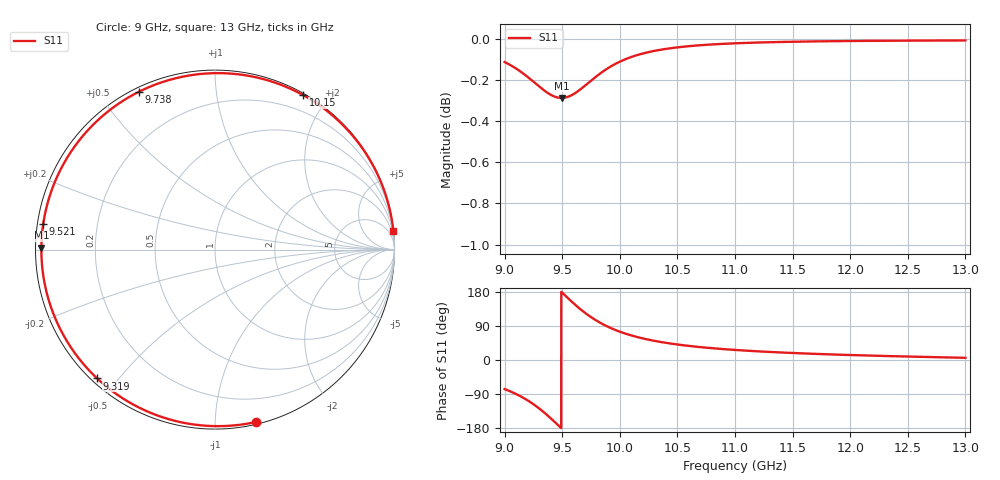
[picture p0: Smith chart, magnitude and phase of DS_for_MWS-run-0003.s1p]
! TOUCHSTONE file generated by CST DESIGN STUDIO
! Date and time: Tue Feb  4 13:47:37 2025
! Project name: C:\Work\MatlabApps\UnitCellOptimizationMatlab\CST\unitcell.cst
! Tree item: Tasks\Sweep1\SPara1\S-Parameters
! Header version: 2024
! Port assignment regex: !\s*Touchstone port\s*([0-9]+)\s*=\s*(CST MWS port|CST DES external port|CST DES block port)\s*(.+)\s* \(\"(.*)\"\)(\s*mode\s*([0-9]+))?.*
! Touchstone port assignment:
! Touchstone port 1 = CST DES external port 1 ("")
# GHz S MA R 50
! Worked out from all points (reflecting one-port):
!   4001 points, 9 GHz to 13 GHz, reference 50 ohm
!   lowest |S11| = -0.3 dB at 9.494 GHz (marker M1), VSWR 60.53, Z = 0.826 + j0.281 ohm
!   phase of S11 starts at -77 deg and turns -277 deg over the sweep
!   S11 on the Smith chart (normalised r, x): 9 GHz: 0.02, -1.26; 9.319 GHz: 0.02, -0.44; 9.521 GHz: 0.02, +0.07; 9.738 GHz: 0.02, +0.63; 10.15 GHz: 0.02, +1.72; 13 GHz: 0, +20
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9  0.9871 -76.7
9.082  0.9843 -87.2
9.183  0.9798 -103.5
9.254  0.9761 -117.5
9.319  0.9728 -132.4
9.365  0.9706 -144.2
9.414  0.9688 -157.6
9.455  0.9678 -169.3
9.494  0.9675 179.4
9.5  0.9675 177.6
9.521  0.9676 171.5
9.574  0.9687 156.3
9.634  0.971 140.1
9.685  0.9735 127.5
9.738  0.9763 115.6
9.791  0.979 105.1
9.85  0.9818 94.9
9.924  0.9848 84.0
10  0.9873 74.7
10.154  0.991 60.3
10.311  0.9935 49.9
10.5  0.9953 40.9
10.722  0.9966 33.3
11  0.9975 26.5
11.5  0.9984 18.5
12  0.9988 13.1
12.5  0.999 9.1
13  0.9991 5.8
